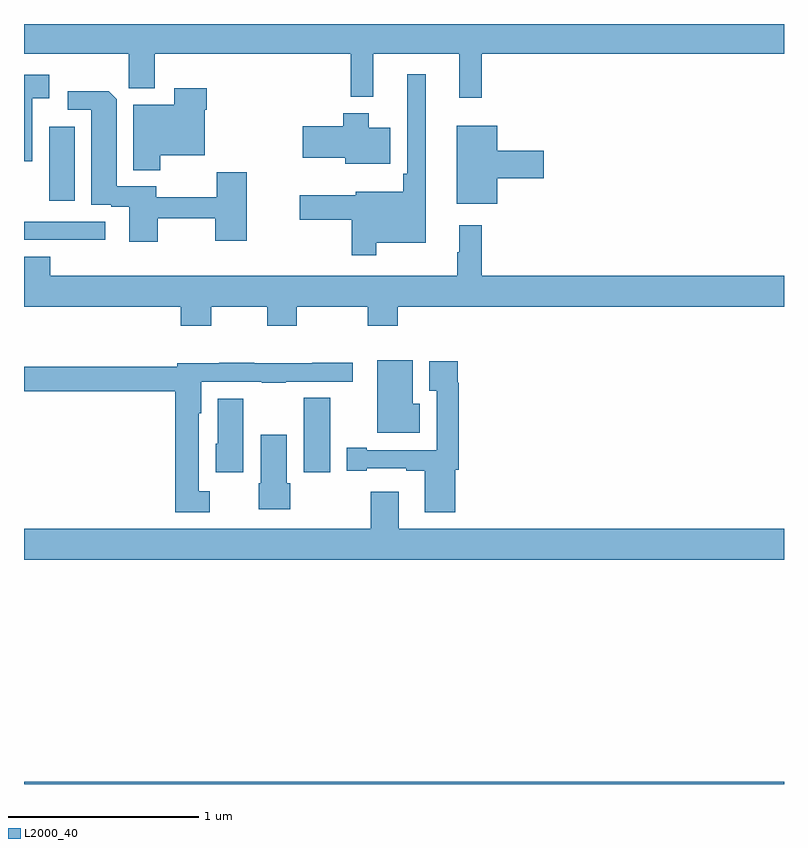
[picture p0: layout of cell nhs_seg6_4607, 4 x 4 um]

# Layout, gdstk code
import gdstk
lib = gdstk.Library(unit=1e-6, precision=1e-09)
def R(c, l, rs):  # rectangles x0, y0, x1, y1
    for r in rs: c.add(gdstk.rectangle(r[:2], r[2:], *l))
def P(c, l, *ps):  # polygons
    for p in ps: c.add(gdstk.Polygon(p, *l))
L2000_40 = (2000, 40)

nhs_seg6_4607 = lib.new_cell('nhs_seg6_4607')
R(nhs_seg6_4607, L2000_40, [(383,935.5,387,935.512), (384.473,937.14,384.613,937.532), (383,938.364,383.428,938.46), (383.132,938.57,383.266,938.959)])
P(nhs_seg6_4607, L2000_40, [(385.409,939.344),(387,939.344),(387,939.5),(383,939.5),(383,939.344),(383.551,939.344),(383.551,939.162),(383.689,939.162),(383.689,939.344),(384.721,939.344),(384.721,939.116),(384.839,939.116),(384.839,939.344),(385.292,939.344),(385.292,939.111),(385.409,939.111)],
  [(384.853,938.348),(385.114,938.348),(385.114,939.235),(385.017,939.235),(385.017,938.713),(384.997,938.713),(384.997,938.617),(384.747,938.617),(384.747,938.599),(384.45,938.599),(384.45,938.47),(384.724,938.47),(384.724,938.283),(384.853,938.283)],
  [(383.044,939.11),(383.134,939.11),(383.134,939.232),(383,939.232),(383,938.778),(383.044,938.778)],
  [(383.716,938.81),(383.95,938.81),(383.95,939.05),(383.963,939.05),(383.963,939.163),(383.792,939.163),(383.792,939.076),(383.576,939.076),(383.576,938.731),(383.716,938.731)],
  [(383.703,938.478),(384.007,938.478),(384.007,938.358),(384.172,938.358),(384.172,938.719),(384.014,938.719),(384.014,938.589),(383.695,938.589),(383.695,938.646),(383.488,938.646),(383.488,939.104),(383.446,939.146),(383.229,939.146),(383.229,939.048),(383.354,939.048),(383.354,938.55),(383.459,938.55),(383.459,938.538),(383.555,938.538),(383.555,938.355),(383.703,938.355)],
  [(384.928,938.953),(384.814,938.953),(384.814,939.031),(384.68,939.031),(384.68,938.961),(384.468,938.961),(384.468,938.795),(384.692,938.795),(384.692,938.765),(384.928,938.765)],
  [(385.492,938.687),(385.735,938.687),(385.735,938.834),(385.492,938.834),(385.492,938.965),(385.277,938.965),(385.277,938.555),(385.492,938.555)],
  [(383.985,938.012),(384.28,938.012),(384.28,937.913),(384.435,937.913),(384.435,938.012),(384.808,938.012),(384.808,937.913),(384.968,937.913),(384.968,938.012),(387,938.012),(387,938.176),(385.409,938.176),(385.409,938.44),(385.292,938.44),(385.292,938.3),(385.281,938.3),(385.281,938.176),(383.138,938.176),(383.138,938.275),(383,938.275),(383,938.012),(383.825,938.012),(383.825,937.913),(383.985,937.913)],
  [(385.084,937.502),(385.045,937.502),(385.045,937.729),(384.86,937.729),(384.86,937.349),(385.084,937.349)],
  [(385.27,937.154),(385.289,937.154),(385.289,937.613),(385.282,937.613),(385.282,937.726),(385.133,937.726),(385.133,937.57),(385.173,937.57),(385.173,937.257),(384.805,937.257),(384.805,937.27),(384.698,937.27),(384.698,937.149),(384.805,937.149),(384.805,937.161),(385.013,937.161),(385.013,937.149),(385.109,937.149),(385.109,936.93),(385.27,936.93)],
  [(383.977,937.042),(383.92,937.042),(383.92,937.452),(383.932,937.452),(383.932,937.617),(384.25,937.617),(384.25,937.612),(384.377,937.612),(384.377,937.617),(384.73,937.617),(384.73,937.718),(384.517,937.718),(384.517,937.715),(384.211,937.715),(384.211,937.718),(384.028,937.718),(384.028,937.715),(383.807,937.715),(383.807,937.696),(383,937.696),(383,937.567),(383.795,937.567),(383.795,936.929),(383.977,936.929)],
  [(384.154,937.528),(384.02,937.528),(384.02,937.29),(384.008,937.29),(384.008,937.14),(384.154,937.14)],
  [(384.402,937.083),(384.382,937.083),(384.382,937.339),(384.245,937.339),(384.245,937.083),(384.236,937.083),(384.236,936.947),(384.402,936.947)],
  [(387,936.844),(384.973,936.844),(384.973,937.039),(384.826,937.039),(384.826,936.844),(383,936.844),(383,936.68),(387,936.68)])

lib.write_gds('nhs_seg6_4607.gds')
